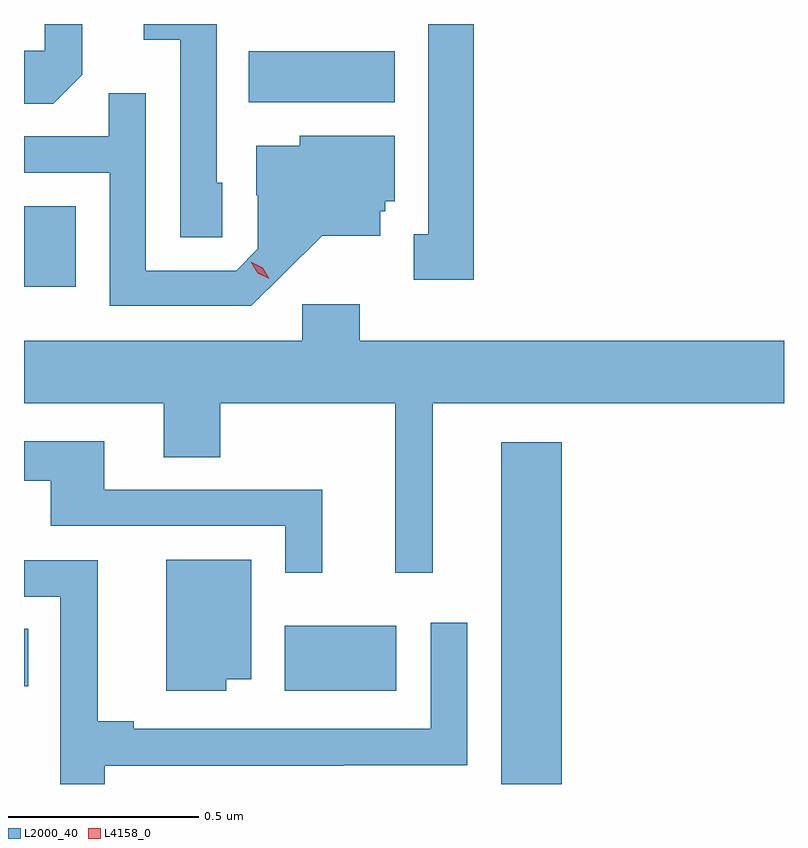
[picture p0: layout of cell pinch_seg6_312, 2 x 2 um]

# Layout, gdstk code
import gdstk
lib = gdstk.Library(unit=1e-6, precision=1e-09)
def R(c, l, rs):  # rectangles x0, y0, x1, y1
    for r in rs: c.add(gdstk.rectangle(r[:2], r[2:], *l))
def P(c, l, *ps):  # polygons
    for p in ps: c.add(gdstk.Polygon(p, *l))
L2000_40 = (2000, 40)
L4158_0 = (4158, 0)

pinch_seg6_312 = lib.new_cell('pinch_seg6_312')
R(pinch_seg6_312, L2000_40, [(667.724,955.658,667.883,956.557), (667.154,955.904,667.447,956.074), (666.468,955.915,666.479,956.066), (666.468,956.966,666.604,957.178), (667.06,957.452,667.444,957.586)])
P(pinch_seg6_312, L2000_40, [(666.99,957.24),(666.975,957.24),(666.975,957.658),(666.783,957.658),(666.783,957.617),(666.879,957.617),(666.879,957.097),(666.99,957.097)],
  [(666.621,957.524),(666.621,957.658),(666.522,957.658),(666.522,957.588),(666.468,957.588),(666.468,957.448),(666.545,957.448)],
  [(667.651,957.658),(667.532,957.658),(667.532,957.105),(667.493,957.105),(667.493,956.985),(667.651,956.985)],
  [(667.15,956.999),(667.253,957.101),(667.405,957.101),(667.405,957.165),(667.419,957.165),(667.419,957.192),(667.444,957.192),(667.444,957.364),(667.194,957.364),(667.194,957.337),(667.079,957.337),(667.079,957.208),(667.083,957.208),(667.083,957.066),(667.026,957.009),(666.789,957.009),(666.789,957.476),(666.691,957.476),(666.691,957.363),(666.468,957.363),(666.468,957.267),(666.693,957.267),(666.693,956.916),(667.066,956.916)],
  [(667.544,956.66),(668.468,956.66),(668.468,956.824),(667.352,956.824),(667.352,956.92),(667.2,956.92),(667.2,956.824),(666.468,956.824),(666.468,956.66),(666.836,956.66),(666.836,956.518),(666.984,956.518),(666.984,956.66),(667.445,956.66),(667.445,956.214),(667.544,956.214)],
  [(667.253,956.433),(666.679,956.433),(666.679,956.56),(666.468,956.56),(666.468,956.456),(666.539,956.456),(666.539,956.337),(667.155,956.337),(667.155,956.214),(667.253,956.214)],
  [(667,955.934),(667.066,955.934),(667.066,956.248),(666.842,956.248),(666.842,955.904),(667,955.904)],
  [(666.68,955.706),(667.31,955.706),(667.31,955.707),(667.635,955.707),(667.635,956.083),(667.539,956.083),(667.539,955.803),(666.757,955.803),(666.757,955.823),(666.662,955.823),(666.662,956.247),(666.468,956.247),(666.468,956.151),(666.564,956.151),(666.564,955.658),(666.68,955.658)])
P(pinch_seg6_312, L4158_0, [(667.114,956.987),(667.083,957.002),(667.065,957.032),(667.065,957.032),(667.065,957.032),(667.096,957.017),(667.114,956.988),(667.114,956.987)])

lib.write_gds('pinch_seg6_312.gds')
